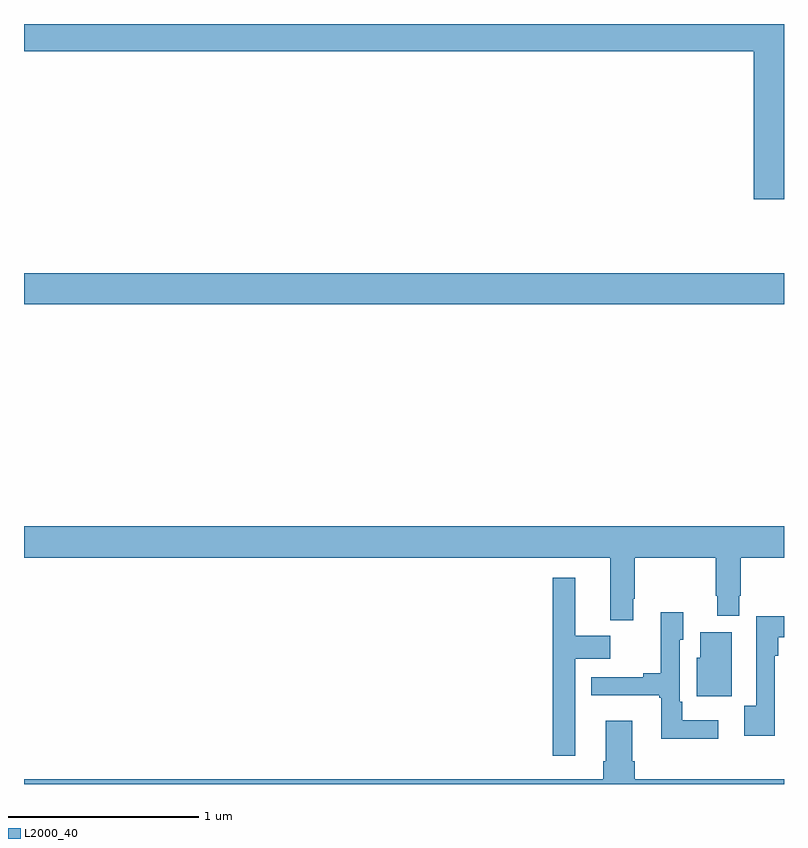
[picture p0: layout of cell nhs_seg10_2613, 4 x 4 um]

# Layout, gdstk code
import gdstk
lib = gdstk.Library(unit=1e-6, precision=1e-09)
def R(c, l, rs):  # rectangles x0, y0, x1, y1
    for r in rs: c.add(gdstk.rectangle(r[:2], r[2:], *l))
def P(c, l, *ps):  # polygons
    for p in ps: c.add(gdstk.Polygon(p, *l))
L2000_40 = (2000, 40)

nhs_seg10_2613 = lib.new_cell('nhs_seg10_2613')
R(nhs_seg10_2613, L2000_40, [(253,1259.024,257,1259.188)])
P(nhs_seg10_2613, L2000_40, [(257,1260.5),(253,1260.5),(253,1260.356),(256.841,1260.356),(256.841,1259.577),(257,1259.577)],
  [(256.207,1257.475),(256.215,1257.475),(256.215,1257.692),(256.642,1257.692),(256.642,1257.49),(256.649,1257.49),(256.649,1257.385),(256.765,1257.385),(256.765,1257.49),(256.773,1257.49),(256.773,1257.692),(257,1257.692),(257,1257.856),(253,1257.856),(253,1257.692),(256.085,1257.692),(256.085,1257.363),(256.207,1257.363)],
  [(255.901,1256.915),(255.9,1256.915),(255.9,1257.158),(256.085,1257.158),(256.085,1257.28),(255.902,1257.28),(255.902,1257.586),(255.784,1257.586),(255.784,1256.649),(255.901,1256.649)],
  [(256.654,1256.835),(256.465,1256.835),(256.465,1256.932),(256.452,1256.932),(256.452,1257.258),(256.471,1257.258),(256.471,1257.403),(256.351,1257.403),(256.351,1257.083),(256.259,1257.083),(256.259,1257.063),(255.985,1257.063),(255.985,1256.966),(256.344,1256.966),(256.344,1256.955),(256.355,1256.955),(256.355,1256.738),(256.654,1256.738)],
  [(256.95,1257.176),(256.97,1257.176),(256.97,1257.272),(257,1257.272),(257,1257.382),(256.854,1257.382),(256.854,1256.913),(256.791,1256.913),(256.791,1256.754),(256.95,1256.754)],
  [(256.725,1257.064),(256.726,1257.064),(256.726,1257.3),(256.559,1257.3),(256.559,1257.165),(256.541,1257.165),(256.541,1256.961),(256.725,1256.961)],
  [(257,1256.524),(256.214,1256.524),(256.214,1256.62),(256.201,1256.62),(256.201,1256.833),(256.061,1256.833),(256.061,1256.62),(256.049,1256.62),(256.049,1256.524),(253,1256.524),(253,1256.5),(257,1256.5)])

lib.write_gds('nhs_seg10_2613.gds')
